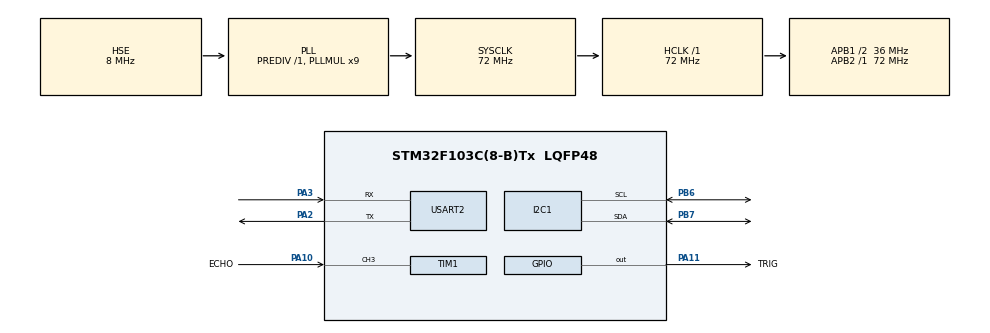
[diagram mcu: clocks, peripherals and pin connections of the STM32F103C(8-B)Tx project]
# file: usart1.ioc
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Mcu.Family=STM32F1
Mcu.Name=STM32F103C(8-B)Tx
Mcu.Package=LQFP48
NVIC.PriorityGroup=NVIC_PRIORITYGROUP_4
NVIC.TIM1_CC_IRQn=true\:0\:0\:false\:false\:true\:true\:true
PA10.GPIO_Label=ECHO
PA10.Signal=S_TIM1_CH3
PA11.GPIO_Label=TRIG
PA11.Signal=GPIO_Output
PA13.Mode=Serial_Wire
PA13.Signal=SYS_JTMS-SWDIO
PA14.Mode=Serial_Wire
PA14.Signal=SYS_JTCK-SWCLK
PA2.Mode=Asynchronous
PA2.Signal=USART2_TX
PA3.Mode=Asynchronous
PA3.Signal=USART2_RX
PB6.Mode=I2C
PB6.Signal=I2C1_SCL
PB7.Mode=I2C
PB7.Signal=I2C1_SDA
PD0-OSC_IN.Mode=HSE-External-Oscillator
PD0-OSC_IN.Signal=RCC_OSC_IN
PD1-OSC_OUT.Mode=HSE-External-Oscillator
PD1-OSC_OUT.Signal=RCC_OSC_OUT
ProjectManager.HeapSize=0x200
ProjectManager.StackSize=0x400
ProjectManager.TargetToolchain=MDK-ARM V5.32
RCC.AHBFreq_Value=72000000
RCC.APB1CLKDivider=RCC_HCLK_DIV2
RCC.APB1Freq_Value=36000000
RCC.APB1TimFreq_Value=72000000
RCC.APB2Freq_Value=72000000
RCC.APB2TimFreq_Value=72000000
RCC.HCLKFreq_Value=72000000
RCC.PLLMUL=RCC_PLL_MUL9
RCC.PLLSourceVirtual=RCC_PLLSOURCE_HSE
RCC.SYSCLKFreq_VALUE=72000000
RCC.SYSCLKSource=RCC_SYSCLKSOURCE_PLLCLK
RCC.USBFreq_Value=72000000
SH.S_TIM1_CH3.0=TIM1_CH3,Input_Capture3_from_TI3
TIM1.Channel-Input_Capture3_from_TI3=TIM_CHANNEL_3
TIM1.Channel-Input_Capture4_from_TI3_63=TIM_CHANNEL_4
TIM1.ICPolarity_CH4=TIM_INPUTCHANNELPOLARITY_FALLING
TIM1.Prescaler=72-1
USART2.VirtualMode=VM_ASYNC
VP_TIM1_VS_ClockSourceINT.Mode=Internal
VP_TIM1_VS_indirect_ch3.Mode=Input_Capture4_from_TI3_63
board=custom

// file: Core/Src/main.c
/* USER CODE BEGIN Header */
/**
  ******************************************************************************
  * @file           : main.c
  * @brief          : Main program body
  ******************************************************************************
  * @attention
  *
  * <h2><center>&copy; Copyright (c) 2026 STMicroelectronics.
  * All rights reserved.</center></h2>
  *
  * This software component is licensed by ST under BSD 3-Clause license,
  * the "License"; You may not use this file except in compliance with the
  * License. You may obtain a copy of the License at:
  *                        opensource.org/licenses/BSD-3-Clause
  *
  ******************************************************************************
  */
/* USER CODE END Header */
#include "main.h"
#include "i2c.h"
#include "tim.h"
#include "usart.h"
#include "gpio.h"

/* USER CODE BEGIN Includes */
#include"stdio.h"
#include"string.h"

/* USER CODE END Includes */

void SystemClock_Config(void);

int main(void)
{

  /* MCU Configuration--------------------------------------------------------*/

  /* Reset of all peripherals, Initializes the Flash interface and the Systick. */
  HAL_Init();

  /* Configure the system clock */
  SystemClock_Config();

  /* Initialize all configured peripherals */
  MX_GPIO_Init();
  MX_I2C1_Init();
  MX_TIM1_Init();
  MX_USART2_UART_Init();

  /* Infinite loop */
  /* USER CODE BEGIN WHILE */
  while (1)
  {
		//TRIG-PA10,ECH0-PA11.
		//触发
		HAL_GPIO_WritePin(TRIG_GPIO_Port, TRIG_Pin, GPIO_PIN_SET);
    HAL_Delay(5);
    HAL_GPIO_WritePin(TRIG_GPIO_Port, TRIG_Pin, GPIO_PIN_RESET);
    // 清零
    __HAL_TIM_SET_COUNTER(&htim1, 0);
    // 等待高电平
    while (HAL_GPIO_ReadPin(ECHO_GPIO_Port, ECHO_Pin) == GPIO_PIN_RESET);
    // 启动TIM1
    HAL_TIM_Base_Start(&htim1);
    // 等待低电平
    while (HAL_GPIO_ReadPin(ECHO_GPIO_Port, ECHO_Pin) == GPIO_PIN_SET);
    // 停止TIM1
    HAL_TIM_Base_Stop(&htim1);
    // 计算距离
    uint32_t cnt = __HAL_TIM_GET_COUNTER(&htim1);
    float distance = cnt * 0.017;
    // 发送到串口
    char buf[32];
    sprintf(buf, "Distance: %.2f cm\r\n", distance);
    HAL_UART_Transmit(&huart2, (uint8_t *)buf, strlen(buf), 1000);
    HAL_Delay(1000);
    /* USER CODE END WHILE */

  }
}

void SystemClock_Config(void)
{
  RCC_OscInitTypeDef RCC_OscInitStruct = {0};
  RCC_ClkInitTypeDef RCC_ClkInitStruct = {0};

  /** Initializes the RCC Oscillators according to the specified parameters
  * in the RCC_OscInitTypeDef structure.
  */
  RCC_OscInitStruct.OscillatorType = RCC_OSCILLATORTYPE_HSE;
  RCC_OscInitStruct.HSEState = RCC_HSE_ON;
  RCC_OscInitStruct.HSEPredivValue = RCC_HSE_PREDIV_DIV1;
  RCC_OscInitStruct.HSIState = RCC_HSI_ON;
  RCC_OscInitStruct.PLL.PLLState = RCC_PLL_ON;
  RCC_OscInitStruct.PLL.PLLSource = RCC_PLLSOURCE_HSE;
  RCC_OscInitStruct.PLL.PLLMUL = RCC_PLL_MUL9;
  if (HAL_RCC_OscConfig(&RCC_OscInitStruct) != HAL_OK)
  {
    Error_Handler();
  }
  /** Initializes the CPU, AHB and APB buses clocks
  */
  RCC_ClkInitStruct.ClockType = RCC_CLOCKTYPE_HCLK|RCC_CLOCKTYPE_SYSCLK
                              |RCC_CLOCKTYPE_PCLK1|RCC_CLOCKTYPE_PCLK2;
  RCC_ClkInitStruct.SYSCLKSource = RCC_SYSCLKSOURCE_PLLCLK;
  RCC_ClkInitStruct.AHBCLKDivider = RCC_SYSCLK_DIV1;
  RCC_ClkInitStruct.APB1CLKDivider = RCC_HCLK_DIV2;
  RCC_ClkInitStruct.APB2CLKDivider = RCC_HCLK_DIV1;

  if (HAL_RCC_ClockConfig(&RCC_ClkInitStruct, FLASH_LATENCY_2) != HAL_OK)
  {
    Error_Handler();
  }
}

void Error_Handler(void)
{
  __disable_irq();
  while (1)
  {
  }
}

/************************ (C) COPYRIGHT STMicroelectronics *****END OF FILE****/
